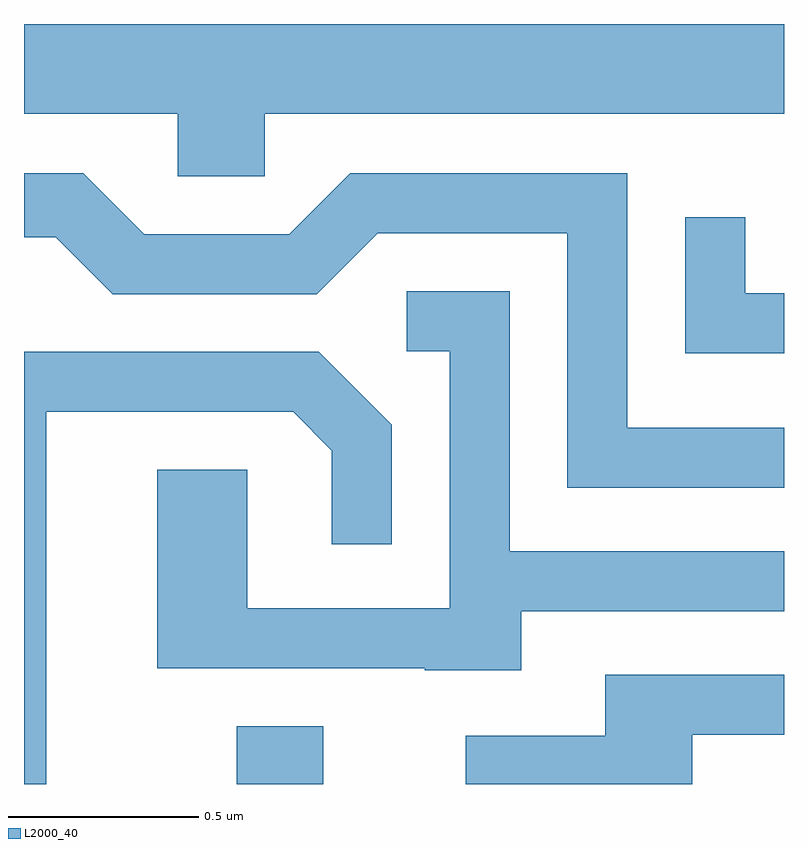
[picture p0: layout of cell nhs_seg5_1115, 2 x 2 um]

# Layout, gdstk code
import gdstk
lib = gdstk.Library(unit=1e-6, precision=1e-09)
def R(c, l, rs):  # rectangles x0, y0, x1, y1
    for r in rs: c.add(gdstk.rectangle(r[:2], r[2:], *l))
def P(c, l, *ps):  # polygons
    for p in ps: c.add(gdstk.Polygon(p, *l))
L2000_40 = (2000, 40)

nhs_seg5_1115 = lib.new_cell('nhs_seg5_1115')
R(nhs_seg5_1115, L2000_40, [(194.171,1415.072,194.399,1415.224)])
P(nhs_seg5_1115, L2000_40, [(194.244,1416.836),(195.611,1416.836),(195.611,1417.072),(193.611,1417.072),(193.611,1416.836),(194.016,1416.836),(194.016,1416.671),(194.244,1416.671)],
  [(195.611,1416.009),(195.199,1416.009),(195.199,1416.679),(194.469,1416.679),(194.309,1416.519),(193.927,1416.519),(193.767,1416.679),(193.611,1416.679),(193.611,1416.511),(193.694,1416.511),(193.844,1416.361),(194.382,1416.361),(194.542,1416.521),(195.041,1416.521),(195.041,1415.851),(195.611,1415.851)],
  [(195.611,1416.364),(195.509,1416.364),(195.509,1416.563),(195.351,1416.563),(195.351,1416.206),(195.611,1416.206)],
  [(194.919,1415.526),(195.611,1415.526),(195.611,1415.684),(194.889,1415.684),(194.889,1416.369),(194.618,1416.369),(194.618,1416.211),(194.731,1416.211),(194.731,1415.534),(194.199,1415.534),(194.199,1415.899),(193.961,1415.899),(193.961,1415.376),(194.665,1415.376),(194.665,1415.371),(194.919,1415.371)],
  [(193.669,1416.051),(194.319,1416.051),(194.421,1415.949),(194.421,1415.703),(194.579,1415.703),(194.579,1416.017),(194.387,1416.209),(193.611,1416.209),(193.611,1415.072),(193.669,1415.072)],
  [(195.369,1415.201),(195.611,1415.201),(195.611,1415.359),(195.141,1415.359),(195.141,1415.199),(194.773,1415.199),(194.773,1415.072),(195.369,1415.072)])

lib.write_gds('nhs_seg5_1115.gds')
